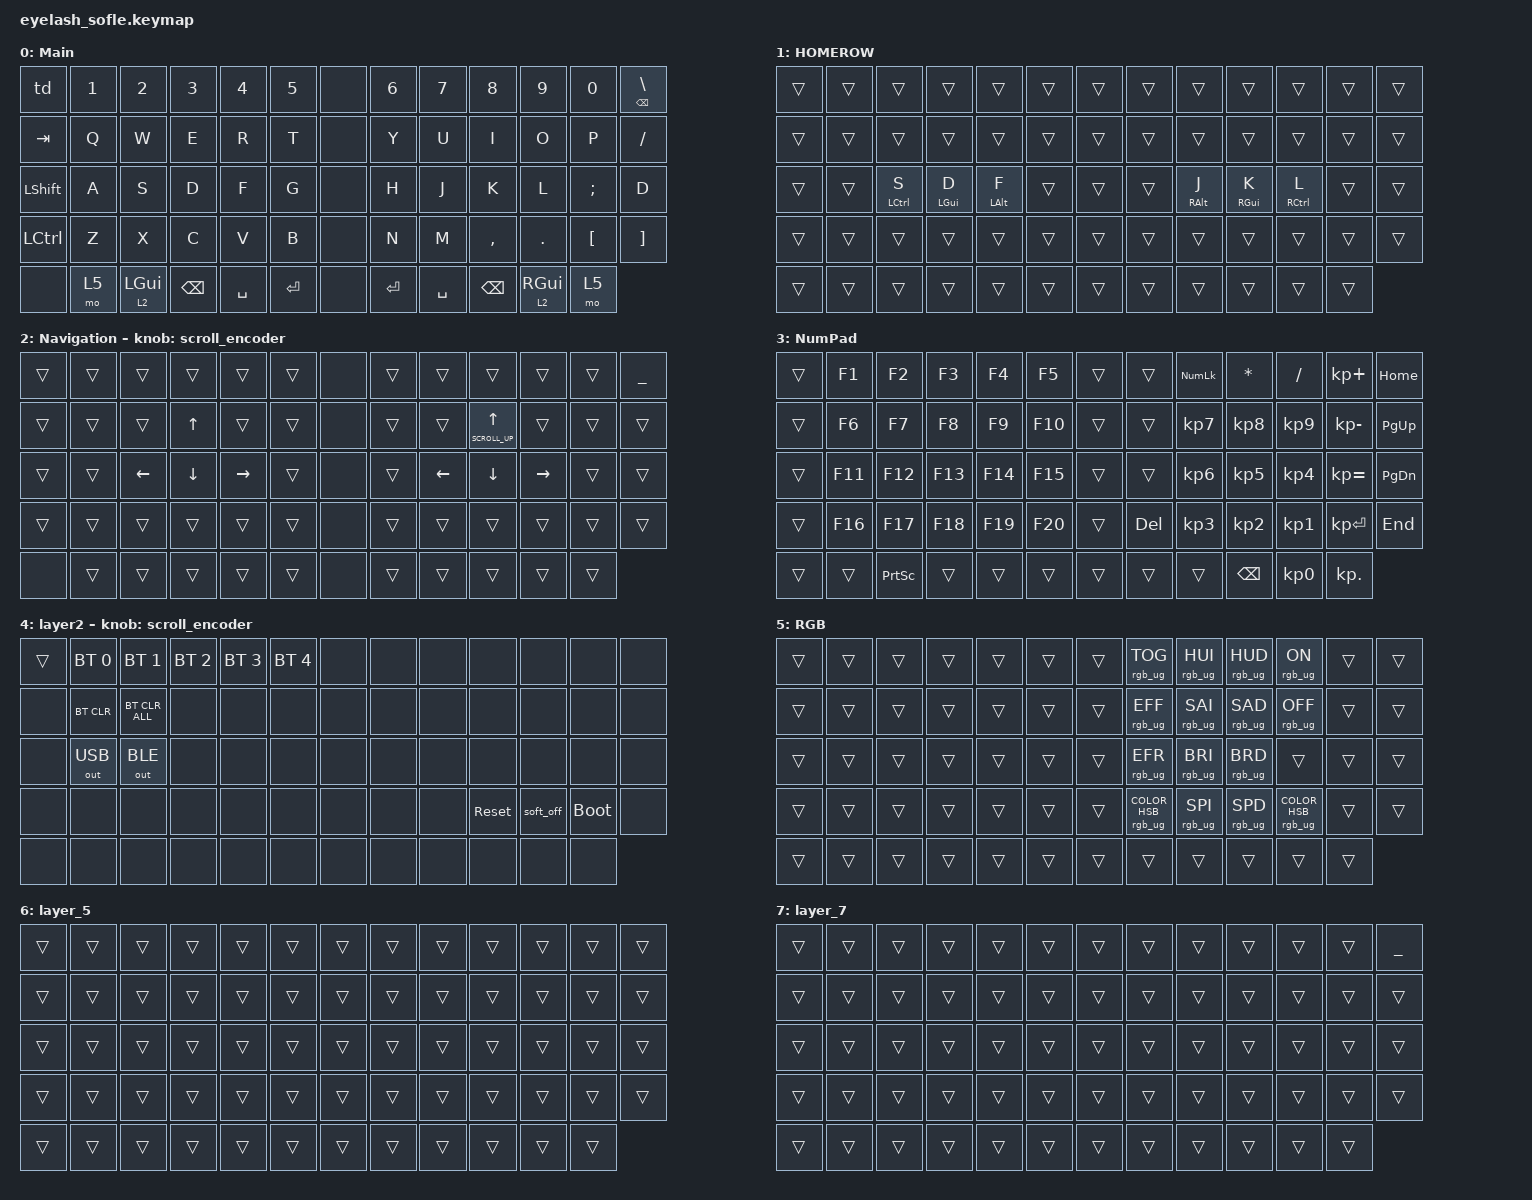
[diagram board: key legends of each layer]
// ============================================================
// Sofle (Eyelash) keymap — 9 слоёв
// Слои 0-4: рабочие (редактируются в ZMK Studio)
// Слои 5-8: зарезервированы для ZMK Studio (status = "reserved")
//           в обычной прошивке не занимают RAM,
//           в Studio-сборке становятся доступными
// ============================================================
// --- Настройки скорости мыши ---
// Увеличенные значения относительно стандартных (600 и 10)

#define ZMK_POINTING_DEFAULT_MOVE_VAL 1200  // 600
#define ZMK_POINTING_DEFAULT_SCRL_VAL 25   // 10

#include <input/processors.dtsi>
#include <zephyr/dt-bindings/input/input-event-codes.h>
#include <behaviors.dtsi>
#include <dt-bindings/zmk/bt.h>
#include <dt-bindings/zmk/keys.h>
#include <dt-bindings/zmk/outputs.h>
#include <dt-bindings/zmk/pointing.h>
#include <dt-bindings/zmk/rgb.h>

// --- Масштабирование движения мыши и скролла ---

&mmv_input_listener { input-processors = <&zip_xy_scaler 2 1>; };

&msc_input_listener { input-processors = <&zip_scroll_scaler 2 1>; };

// --- Физика скролла: быстрый старт, без задержки ---

&msc {
    acceleration-exponent = <1>;
    time-to-max-speed-ms = <100>;
    delay-ms = <0>;
};

// --- Физика движения курсора: плавный разгон за 500мс ---

&mmv {
    time-to-max-speed-ms = <500>;
    acceleration-exponent = <1>;
    trigger-period-ms = <16>;
};

// --- Soft Off: нужно держать комбо 2 секунды ---

&soft_off { hold-time-ms = <2000>; };

&lt {
};

/ {
    // --- Поведение энкодера: скролл вверх/вниз ---
    // Используется на слоях 1 и 2 вместо регулировки громкости

    scroll_encoder: scroll_encoder {
        compatible = "zmk,behavior-sensor-rotate";
        #sensor-binding-cells = <0>;
        bindings = <&msc SCRL_DOWN>, <&msc SCRL_UP>;

        tap-ms = <100>;
    };

    td: td {
        compatible = "zmk,behavior-tap-dance";
        label = "TD";
        #binding-cells = <0>;
        bindings = <&kp ESC>, <&to 0>, <&none>, <&none>, <&soft_off>;
    };

    behaviors {
        // Здесь можно добавлять свои кастомные behaviors:
        // hold-tap, tap-dance, mod-morph и т.д.
        // Пример hold-tap (раскомментируй и настрой по вкусу):
        //
        // hm: homerow_mods {
        //     compatible = "zmk,behavior-hold-tap";
        //     #binding-cells = <2>;
        //     tapping-term-ms = <200>;
        //     quick-tap-ms = <0>;
        //     flavor = "tap-preferred";
        //     bindings = <&kp>, <&kp>;
        // };
    };

    combos {
        compatible = "zmk,combos";

        // Комбо Q+S+Z (позиции 14, 28, 40) = Soft Off
        // Нужно держать 2 секунды (настроено выше в &soft_off)

        softoff {
            bindings = <&soft_off>;
            key-positions = <39 5 4 40>;
        };

        NP_L {
            bindings = <&tog 3>;
            key-positions = <57 56>;
        };

        Adjust {
            bindings = <&sl 4>;
            key-positions = <5 7>;
        };

        HOMEROW {
            bindings = <&tog 1>;
            key-positions = <57 59>;
        };

        sfoffright {
            bindings = <&soft_off>;
            key-positions = <7 8 50 51>;
        };
    };

    macros {
        // Макрос: одновременно Shift + средняя кнопка мыши
        // Можно назначить на любую клавишу через ZMK Studio

        SHIFT_MCLK: SHIFT_MCLK {
            compatible = "zmk,behavior-macro";
            #binding-cells = <0>;
            bindings =
                <&macro_press>,
                <&kp LEFT_SHIFT>,
                <&macro_press>,
                <&mkp MB3>,
                <&macro_pause_for_release>,
                <&macro_release>,
                <&kp LEFT_SHIFT &mkp MB3>;

            label = "SHIFT_MCLK";
        };
    };

    keymap {
        compatible = "zmk,keymap";

        // ====================================================
        // СЛОЙ 0 — Базовый (всегда активен)
        // Стандартная QWERTY раскладка
        // mo 1 = левый большой палец = временно слой 1
        // mo 2 = правый большой палец = временно слой 2
        // ====================================================

        Main {
            bindings = <
&td             &kp N1  &kp N2          &kp N3         &kp N4     &kp N5     &none  &kp N6   &kp N7     &kp N8         &kp N9           &kp N0            &mt BACKSPACE BACKSLASH
&kp TAB         &kp Q   &kp W           &kp E          &kp R      &kp T      &none  &kp Y    &kp U      &kp I          &kp O            &kp P             &kp SLASH
&kp LEFT_SHIFT  &kp A   &kp S           &kp D          &kp F      &kp G      &none  &kp H    &kp J      &kp K          &kp L            &kp SEMI          &kp D
&kp LCTRL       &kp Z   &kp X           &kp C          &kp V      &kp B      &none  &kp N    &kp M      &kp COMMA      &kp DOT          &kp LEFT_BRACKET  &kp RIGHT_BRACKET
&none           &mo 5   &lt 2 LEFT_GUI  &kp BACKSPACE  &kp SPACE  &kp RET    &none  &kp RET  &kp SPACE  &kp BACKSPACE  &lt 2 RIGHT_GUI  &mo 5
            >;

            display-name = "Main";
        };

        HOMEROW {
            bindings = <
&trans  &trans  &trans       &trans          &trans          &trans    &trans  &trans  &trans           &trans           &trans       &trans  &trans
&trans  &trans  &trans       &trans          &trans          &trans    &trans  &trans  &trans           &trans           &trans       &trans  &trans
&trans  &trans  &mt LCTRL S  &mt LEFT_GUI D  &mt LEFT_ALT F  &trans    &trans  &trans  &mt RIGHT_ALT J  &mt RIGHT_GUI K  &mt RCTRL L  &trans  &trans
&trans  &trans  &trans       &trans          &trans          &trans    &trans  &trans  &trans           &trans           &trans       &trans  &trans
&trans  &trans  &trans       &trans          &trans          &trans    &trans  &trans  &trans           &trans           &trans       &trans
            >;

            label = "HOMEROW";
        };

        Navigation {
            bindings = <
&trans  &trans  &trans    &trans    &trans     &trans    &none  &trans  &trans    &trans                    &trans     &trans  &kp UNDER
&trans  &trans  &trans    &kp UP    &trans     &trans    &none  &trans  &trans    &mt K_SCROLL_UP UP_ARROW  &trans     &trans  &trans
&trans  &trans  &kp LEFT  &kp DOWN  &kp RIGHT  &trans    &none  &trans  &kp LEFT  &kp DOWN                  &kp RIGHT  &trans  &trans
&trans  &trans  &trans    &trans    &trans     &trans    &none  &trans  &trans    &trans                    &trans     &trans  &trans
&none   &trans  &trans    &trans    &trans     &trans    &none  &trans  &trans    &trans                    &trans     &trans
            >;

            display-name = "Navigation";
            sensor-bindings = <&scroll_encoder>;
        };

        NumPad {
            bindings = <
&trans  &kp F1   &kp F2           &kp F3   &kp F4   &kp F5     &trans  &trans   &kp KP_NUM  &kp ASTERISK   &kp SLASH  &kp KP_PLUS   &kp HOME
&trans  &kp F6   &kp F7           &kp F8   &kp F9   &kp F10    &trans  &trans   &kp KP_N7   &kp KP_N8      &kp KP_N9  &kp KP_MINUS  &kp PG_UP
&trans  &kp F11  &kp F12          &kp F13  &kp F14  &kp F15    &trans  &trans   &kp KP_N6   &kp KP_N5      &kp KP_N4  &kp KP_EQUAL  &kp PG_DN
&trans  &kp F16  &kp F17          &kp F18  &kp F19  &kp F20    &trans  &kp DEL  &kp KP_N3   &kp KP_N2      &kp KP_N1  &kp KP_ENTER  &kp END
&trans  &trans   &kp PRINTSCREEN  &trans   &trans   &trans     &trans  &trans   &trans      &kp BACKSPACE  &kp KP_N0  &kp KP_DOT
            >;

            label = "NumPad";
        };

        Adjust {
            bindings = <
&trans  &bt BT_SEL 0  &bt BT_SEL 1    &bt BT_SEL 2  &bt BT_SEL 3  &bt BT_SEL 4    &none  &none  &none  &none       &none      &none        &none
&none   &bt BT_CLR    &bt BT_CLR_ALL  &none         &none         &none           &none  &none  &none  &none       &none      &none        &none
&none   &out OUT_USB  &out OUT_BLE    &none         &none         &none           &none  &none  &none  &none       &none      &none        &none
&none   &none         &none           &none         &none         &none           &none  &none  &none  &sys_reset  &soft_off  &bootloader  &none
&none   &none         &none           &none         &none         &none           &none  &none  &none  &none       &none      &none
            >;

            display-name = "layer2";
            sensor-bindings = <&scroll_encoder>;
            label = "Adjust";
        };

        RGB {
            bindings = <
&trans  &trans  &trans  &trans  &trans  &trans    &trans  &rgb_ug RGB_TOG                  &rgb_ug RGB_HUI  &rgb_ug RGB_HUD  &rgb_ug RGB_ON                     &trans  &trans
&trans  &trans  &trans  &trans  &trans  &trans    &trans  &rgb_ug RGB_EFF                  &rgb_ug RGB_SAI  &rgb_ug RGB_SAD  &rgb_ug RGB_OFF                    &trans  &trans
&trans  &trans  &trans  &trans  &trans  &trans    &trans  &rgb_ug RGB_EFR                  &rgb_ug RGB_BRI  &rgb_ug RGB_BRD  &trans                             &trans  &trans
&trans  &trans  &trans  &trans  &trans  &trans    &trans  &rgb_ug RGB_COLOR_HSB(0,100,50)  &rgb_ug RGB_SPI  &rgb_ug RGB_SPD  &rgb_ug RGB_COLOR_HSB(154,100,37)  &trans  &trans
&trans  &trans  &trans  &trans  &trans  &trans    &trans  &trans                           &trans           &trans           &trans                             &trans
            >;

            label = "RGB";
        };

        layer_5 {
            bindings = <
&trans  &trans  &trans  &trans  &trans  &trans    &trans  &trans  &trans  &trans  &trans  &trans  &trans
&trans  &trans  &trans  &trans  &trans  &trans    &trans  &trans  &trans  &trans  &trans  &trans  &trans
&trans  &trans  &trans  &trans  &trans  &trans    &trans  &trans  &trans  &trans  &trans  &trans  &trans
&trans  &trans  &trans  &trans  &trans  &trans    &trans  &trans  &trans  &trans  &trans  &trans  &trans
&trans  &trans  &trans  &trans  &trans  &trans    &trans  &trans  &trans  &trans  &trans  &trans
            >;
        };

        layer_7 {
            bindings = <
&trans  &trans  &trans  &trans  &trans  &trans    &trans  &trans  &trans  &trans  &trans  &trans  &kp UNDER
&trans  &trans  &trans  &trans  &trans  &trans    &trans  &trans  &trans  &trans  &trans  &trans  &trans
&trans  &trans  &trans  &trans  &trans  &trans    &trans  &trans  &trans  &trans  &trans  &trans  &trans
&trans  &trans  &trans  &trans  &trans  &trans    &trans  &trans  &trans  &trans  &trans  &trans  &trans
&trans  &trans  &trans  &trans  &trans  &trans    &trans  &trans  &trans  &trans  &trans  &trans
            >;
        };
    };
};
